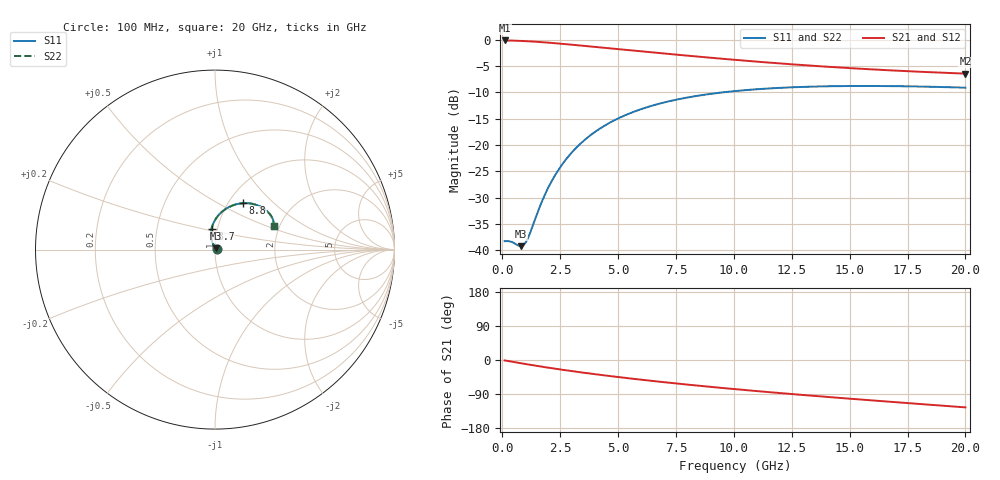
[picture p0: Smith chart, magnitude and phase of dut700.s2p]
! Touchstone file exported from HFSS 2024.1.0
!  File:  C:/UserFiles/LocalFiles/RDL_TSV_Batchsim/temp_RDL_TSV_700_1779885769.aedt
!  Generated:  08:59:46 PM May 27, 2026
!  Design:  RDL_TSV
!  Project:  temp_RDL_TSV_700_1779885769
!  Setup:  Setup1
!  Solution:  Sweep
! Variables:
!  dtsv = 5.33um
!  hbump = 3um
!  htsv = 99.35um
!  ldown = 155.44um
!  lrdl = 206.04um
!  p = 40
!  p1 = 47.33um
!  rhole = 10um
!  subl = 1290.48um
!  t = 450um
!  tdown = 3.3um
!  trdl = 2.24um
!  viad = 10um
!  wdown = 19.78um
!  wrdl = 19.01um
!  xbump = 18um
# GHz S MA R 50.000000
! Terminal data exported
! Port[1] = TM1_1_T1
! Port[2] = TM1_4_T1
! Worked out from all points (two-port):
!   200 points, 100 MHz to 20 GHz, reference 50 ohm
!   highest |S21| = -0.11 dB at 100 MHz (marker M1); lowest = -6.4 dB at 20 GHz (marker M2)
!   |S21| within 3 dB of the highest: start of sweep to 8.264 GHz
!   lowest |S11| = -39.2 dB at 800 MHz (marker M3), VSWR 1.02, Z = 50.7 + j0.808 ohm
!   |S11| at or under -10 dB: start of sweep to 9.479 GHz
!   |S22| runs from -39.2 to -8.8 dB; largest |S21 - S12| = 9.6e-15
!   S11 on the Smith chart (normalised r, x): 100 MHz: 1.02, +0.00; 3.7 GHz: 0.94, +0.22; 8.8 GHz: 1.17, +0.67; 20 GHz: 1.86, +0.55
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0.1  0.01219 4.9  0.9876 -1.1  0.9876 -1.1  0.01219 4.9
! Gamma 0 0 0 0
! Port Impedance 50 0 50 0
0.4  0.01199 18.7  0.9848 -4.3  0.9848 -4.3  0.01199 18.7
0.8  0.01092 46.8  0.9779 -8.5  0.9779 -8.5  0.01092 46.8
0.9  0.01112 57.0  0.9757 -9.6  0.9757 -9.6  0.01112 57.0
1  0.01177 67.5  0.9733 -10.6  0.9733 -10.6  0.01176 67.5
1.1  0.01292 77.4  0.9707 -11.6  0.9707 -11.6  0.01292 77.3
1.8  0.03219 108.1  0.9482 -18.5  0.9482 -18.5  0.03218 108.1
2  0.03991 109.6  0.9407 -20.4  0.9407 -20.4  0.03989 109.6
2.3  0.05254 109.8  0.929 -23.2  0.929 -23.2  0.05251 109.7
2.9  0.08013 106.4  0.9042 -28.4  0.9042 -28.4  0.08009 106.4
3.5  0.1091 101.1  0.8788 -33.4  0.8788 -33.4  0.109 101.1
3.7  0.1188 99.3  0.8704 -35.1  0.8704 -35.1  0.1187 99.2
4.4  0.152 92.6  0.8413 -40.5  0.8413 -40.5  0.1519 92.6
5.1  0.1833 86.1  0.8131 -45.7  0.8131 -45.7  0.1831 86.1
5.9  0.2158 79.2  0.7821 -51.3  0.7821 -51.3  0.2157 79.2
6.8  0.248 72.1  0.7489 -57.4  0.7489 -57.4  0.2478 72.1
8.8  0.3025 58.7  0.6823 -69.8  0.6823 -69.8  0.3023 58.7
10.1  0.3269 51.6  0.6445 -77.2  0.6445 -77.2  0.3267 51.6
11.7  0.3472 44.1  0.6038 -85.8  0.6038 -85.8  0.347 44.1
13.4  0.3595 37.5  0.5674 -94.4  0.5674 -94.4  0.3593 37.5
16.7  0.3637 27.8  0.5139 -110.0  0.5139 -110.0  0.3635 27.8
20  0.3512 21.7  0.4781 -125.0  0.4781 -125.0  0.351 21.7
